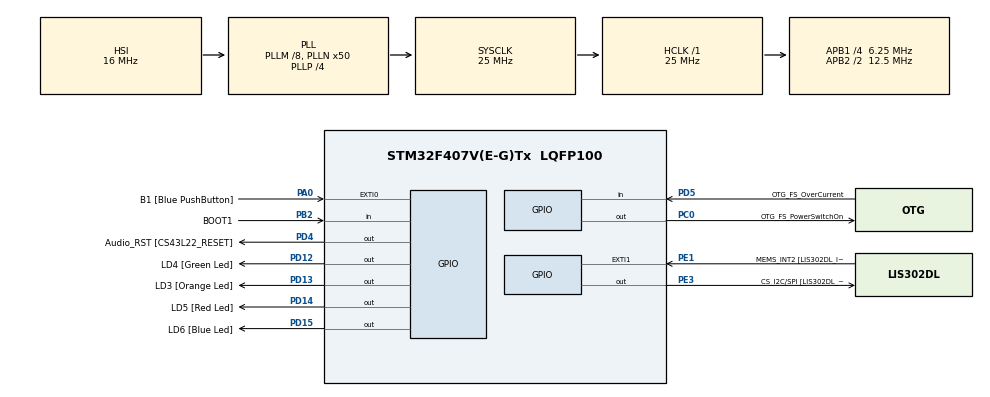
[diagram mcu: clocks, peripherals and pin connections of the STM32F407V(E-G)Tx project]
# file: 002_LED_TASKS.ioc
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Mcu.Family=STM32F4
Mcu.Name=STM32F407V(E-G)Tx
Mcu.Package=LQFP100
NVIC.PriorityGroup=NVIC_PRIORITYGROUP_4
NVIC.TIM6_DAC_IRQn=true\:0\:0\:false\:false\:true\:false\:true\:true
NVIC.TimeBase=TIM6_DAC_IRQn
NVIC.TimeBaseIP=TIM6
PA0-WKUP.GPIO_Label=B1 [Blue PushButton]
PA0-WKUP.Signal=GPXTI0
PA10.GPIO_Label=OTG_FS_ID
PA10.GPIO_Mode=GPIO_MODE_AF_PP
PA10.GPIO_PuPd=GPIO_NOPULL
PA10.GPIO_Speed=GPIO_SPEED_FREQ_LOW
PA10.Signal=USB_OTG_FS_ID
PA11.GPIO_Label=OTG_FS_DM
PA11.GPIO_Mode=GPIO_MODE_AF_PP
PA11.GPIO_PuPd=GPIO_NOPULL
PA11.GPIO_Speed=GPIO_SPEED_FREQ_LOW
PA11.Signal=USB_OTG_FS_DM
PA12.GPIO_Label=OTG_FS_DP
PA12.GPIO_Mode=GPIO_MODE_AF_PP
PA12.GPIO_PuPd=GPIO_NOPULL
PA12.GPIO_Speed=GPIO_SPEED_FREQ_LOW
PA12.Signal=USB_OTG_FS_DP
PA13.GPIO_Label=SWDIO
PA13.Signal=SYS_JTMS-SWDIO
PA14.GPIO_Label=SWCLK
PA14.Signal=SYS_JTCK-SWCLK
PA4.GPIO_Label=I2S3_WS [CS43L22_LRCK]
PA4.GPIO_Mode=GPIO_MODE_AF_PP
PA4.GPIO_PuPd=GPIO_NOPULL
PA4.GPIO_Speed=GPIO_SPEED_FREQ_LOW
PA4.Signal=I2S3_WS
PA5.GPIO_Label=SPI1_SCK [LIS302DL_SCL/SPC]
PA5.GPIO_Mode=GPIO_MODE_AF_PP
PA5.GPIO_PuPd=GPIO_NOPULL
PA5.GPIO_Speed=GPIO_SPEED_FREQ_LOW
PA5.Signal=SPI1_SCK
PA6.GPIO_Label=SPI1_MISO [LIS302DL_SDO]
PA6.GPIO_Mode=GPIO_MODE_AF_PP
PA6.GPIO_PuPd=GPIO_NOPULL
PA6.GPIO_Speed=GPIO_SPEED_FREQ_LOW
PA6.Signal=SPI1_MISO
PA7.GPIO_Label=SPI1_MOSI [LIS302DL_SDA/SDI/SDO]
PA7.GPIO_Mode=GPIO_MODE_AF_PP
PA7.GPIO_PuPd=GPIO_NOPULL
PA7.GPIO_Speed=GPIO_SPEED_FREQ_LOW
PA7.Signal=SPI1_MOSI
PA9.GPIO_Label=VBUS_FS
PA9.GPIO_Mode=GPIO_MODE_INPUT
PA9.GPIO_PuPd=GPIO_NOPULL
PA9.Signal=USB_OTG_FS_VBUS
PB10.GPIO_Label=CLK_IN [MP45DT02_CLK]
PB10.GPIO_Mode=GPIO_MODE_AF_PP
PB10.GPIO_PuPd=GPIO_NOPULL
PB10.GPIO_Speed=GPIO_SPEED_FREQ_LOW
PB10.Signal=I2S2_CK
PB2.GPIO_Label=BOOT1
PB2.GPIO_Mode=GPIO_MODE_INPUT
PB2.GPIO_PuPd=GPIO_NOPULL
PB2.Signal=GPIO_Input
PB3.GPIO_Label=SWO
PB3.Signal=SYS_JTDO-SWO
PB6.GPIO_Label=Audio_SCL [CS43L22_SCL]
PB6.GPIO_Mode=GPIO_MODE_AF_OD
PB6.GPIO_PuPd=GPIO_NOPULL
PB6.GPIO_Speed=GPIO_SPEED_FREQ_LOW
PB6.Signal=I2C1_SCL
PB9.GPIO_Label=Audio_SDA [CS43L22_SDA]
PB9.GPIO_Mode=GPIO_MODE_AF_OD
PB9.GPIO_PuPd=GPIO_NOPULL
PB9.GPIO_Speed=GPIO_SPEED_FREQ_LOW
PB9.Signal=I2C1_SDA
PC0.GPIO_Label=OTG_FS_PowerSwitchOn
PC0.GPIO_PuPd=GPIO_NOPULL
PC0.GPIO_Speed=GPIO_SPEED_FREQ_LOW
PC0.PinState=GPIO_PIN_SET
PC0.Signal=GPIO_Output
PC10.GPIO_Label=I2S3_SCK [CS43L22_SCLK]
PC10.GPIO_Mode=GPIO_MODE_AF_PP
PC10.GPIO_PuPd=GPIO_NOPULL
PC10.GPIO_Speed=GPIO_SPEED_FREQ_LOW
PC10.Signal=I2S3_CK
PC12.GPIO_Label=I2S3_SD [CS43L22_SDIN]
PC12.GPIO_Mode=GPIO_MODE_AF_PP
PC12.GPIO_PuPd=GPIO_NOPULL
PC12.GPIO_Speed=GPIO_SPEED_FREQ_LOW
PC12.Signal=I2S3_SD
PC14-OSC32_IN.GPIO_Label=PC14-OSC32_IN
PC14-OSC32_IN.Signal=RCC_OSC32_IN
PC15-OSC32_OUT.GPIO_Label=PC15-OSC32_OUT
PC15-OSC32_OUT.Signal=RCC_OSC32_OUT
PC3.GPIO_Label=PDM_OUT [MP45DT02_DOUT]
PC3.GPIO_Mode=GPIO_MODE_AF_PP
PC3.GPIO_PuPd=GPIO_NOPULL
PC3.GPIO_Speed=GPIO_SPEED_FREQ_LOW
PC3.Signal=I2S2_SD
PC7.GPIO_Label=I2S3_MCK [CS43L22_MCLK]
PC7.GPIO_Mode=GPIO_MODE_AF_PP
PC7.GPIO_PuPd=GPIO_NOPULL
PC7.GPIO_Speed=GPIO_SPEED_FREQ_LOW
PC7.Signal=I2S3_MCK
PD12.GPIO_Label=LD4 [Green Led]
PD12.GPIO_PuPd=GPIO_NOPULL
PD12.GPIO_Speed=GPIO_SPEED_FREQ_LOW
PD12.Signal=GPIO_Output
PD13.GPIO_Label=LD3 [Orange Led]
PD13.GPIO_PuPd=GPIO_NOPULL
PD13.GPIO_Speed=GPIO_SPEED_FREQ_LOW
PD13.Signal=GPIO_Output
PD14.GPIO_Label=LD5 [Red Led]
PD14.GPIO_PuPd=GPIO_NOPULL
PD14.GPIO_Speed=GPIO_SPEED_FREQ_LOW
PD14.Signal=GPIO_Output
PD15.GPIO_Label=LD6 [Blue Led]
PD15.GPIO_PuPd=GPIO_NOPULL
PD15.GPIO_Speed=GPIO_SPEED_FREQ_LOW
PD15.Signal=GPIO_Output
PD4.GPIO_Label=Audio_RST [CS43L22_RESET]
PD4.GPIO_PuPd=GPIO_NOPULL
PD4.GPIO_Speed=GPIO_SPEED_FREQ_LOW
PD4.Signal=GPIO_Output
PD5.GPIO_Label=OTG_FS_OverCurrent
PD5.GPIO_Mode=GPIO_MODE_INPUT
PD5.GPIO_PuPd=GPIO_NOPULL
PD5.Signal=GPIO_Input
PE1.GPIO_Label=MEMS_INT2 [LIS302DL_INT2]
PE1.GPIO_ModeDefaultEXTI=GPIO_MODE_EVT_RISING
PE1.GPIO_PuPd=GPIO_NOPULL
PE1.Signal=GPXTI1
PE3.GPIO_Label=CS_I2C/SPI [LIS302DL_CS_I2C/SPI]
PE3.GPIO_PuPd=GPIO_NOPULL
PE3.GPIO_Speed=GPIO_SPEED_FREQ_LOW
PE3.Signal=GPIO_Output
PH0-OSC_IN.GPIO_Label=PH0-OSC_IN
PH0-OSC_IN.Signal=RCC_OSC_IN
PH1-OSC_OUT.GPIO_Label=PH1-OSC_OUT
PH1-OSC_OUT.Signal=RCC_OSC_OUT
ProjectManager.HeapSize=0x200
ProjectManager.StackSize=0x400
ProjectManager.TargetToolchain=STM32CubeIDE
RCC.48MHZClocksFreq_Value=14285714.285714285
RCC.AHBFreq_Value=25000000
RCC.APB1CLKDivider=RCC_HCLK_DIV4
RCC.APB1Freq_Value=6250000
RCC.APB1TimFreq_Value=12500000
RCC.APB2CLKDivider=RCC_HCLK_DIV2
RCC.APB2Freq_Value=12500000
RCC.APB2TimFreq_Value=25000000
RCC.CortexFreq_Value=25000000
RCC.HCLKFreq_Value=25000000
RCC.HSE_VALUE=8000000
RCC.HSI_VALUE=16000000
RCC.LSE_VALUE=32768
RCC.PLLM=8
RCC.PLLN=50
RCC.PLLP=RCC_PLLP_DIV4
RCC.PLLQ=7
RCC.SYSCLKFreq_VALUE=25000000
RCC.SYSCLKSource=RCC_SYSCLKSOURCE_PLLCLK
RCC.VCOOutputFreq_Value=100000000
VP_SYS_VS_tim6.Mode=TIM6
board=STM32F407G-DISC1

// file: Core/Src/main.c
/* USER CODE BEGIN Header */
/**
  ******************************************************************************
  * @file           : main.c
  * @brief          : Main program body
  ******************************************************************************
  * @attention
  *
  * Copyright (c) 2026 STMicroelectronics.
  * All rights reserved.
  *
  * This software is licensed under terms that can be found in the LICENSE file
  * in the root directory of this software component.
  * If no LICENSE file comes with this software, it is provided AS-IS.
  *
  ******************************************************************************
  */
/* USER CODE END Header */
#include "main.h"

/* USER CODE BEGIN Includes */
#include "FreeRTOS.h"
#include "task.h"
#include <stdio.h>

/* USER CODE END Includes */

/* USER CODE BEGIN PV */
#define DWT_CTRL   (*(volatile uint32_t*)0xE0001000)
/* USER CODE END PV */

void SystemClock_Config(void);
static void MX_GPIO_Init(void);
/* USER CODE BEGIN PFP */
static void led_green_handler(void* parameters);
static void led_red_handler(void* parameters);
static void led_orange_handler(void* parameters);

/* USER CODE END PFP */

int main(void)
{

  /* USER CODE BEGIN 1 */
  TaskHandle_t task1_handle,task2_handle,task3_handle;

  BaseType_t status;

  /* USER CODE END 1 */

  /* MCU Configuration--------------------------------------------------------*/

  /* Reset of all peripherals, Initializes the Flash interface and the Systick. */
  HAL_Init();

  /* Configure the system clock */
  SystemClock_Config();

  /* Initialize all configured peripherals */
  MX_GPIO_Init();
  /* USER CODE BEGIN 2 */
  DWT_CTRL |=(1<<0);

  status = xTaskCreate(led_green_handler,"LED_GREEN_TASK", 200, NULL, 2, &task1_handle);
  configASSERT(status == pdPASS);
  status = xTaskCreate(led_red_handler,"LED_RED_TASK", 200, NULL, 2, &task2_handle);
  configASSERT(status == pdPASS);
  status = xTaskCreate(led_orange_handler,"LED_ORANGE_TASK", 200, NULL, 2, &task3_handle);
  configASSERT(status == pdPASS);

  //start the scheduler
  vTaskStartScheduler();
  /* USER CODE END 2 */

  /* Infinite loop */
  while (1)
  {

  }
}

void SystemClock_Config(void)
{
  RCC_OscInitTypeDef RCC_OscInitStruct = {0};
  RCC_ClkInitTypeDef RCC_ClkInitStruct = {0};

  /** Configure the main internal regulator output voltage
  */
  __HAL_RCC_PWR_CLK_ENABLE();
  __HAL_PWR_VOLTAGESCALING_CONFIG(PWR_REGULATOR_VOLTAGE_SCALE1);

  /** Initializes the RCC Oscillators according to the specified parameters
  * in the RCC_OscInitTypeDef structure.
  */
  RCC_OscInitStruct.OscillatorType = RCC_OSCILLATORTYPE_HSI;
  RCC_OscInitStruct.HSIState = RCC_HSI_ON;
  RCC_OscInitStruct.HSICalibrationValue = RCC_HSICALIBRATION_DEFAULT;
  RCC_OscInitStruct.PLL.PLLState = RCC_PLL_ON;
  RCC_OscInitStruct.PLL.PLLSource = RCC_PLLSOURCE_HSI;
  RCC_OscInitStruct.PLL.PLLM = 8;
  RCC_OscInitStruct.PLL.PLLN = 50;
  RCC_OscInitStruct.PLL.PLLP = RCC_PLLP_DIV4;
  RCC_OscInitStruct.PLL.PLLQ = 7;
  if (HAL_RCC_OscConfig(&RCC_OscInitStruct) != HAL_OK)
  {
    Error_Handler();
  }

  /** Initializes the CPU, AHB and APB buses clocks
  */
  RCC_ClkInitStruct.ClockType = RCC_CLOCKTYPE_HCLK|RCC_CLOCKTYPE_SYSCLK
                              |RCC_CLOCKTYPE_PCLK1|RCC_CLOCKTYPE_PCLK2;
  RCC_ClkInitStruct.SYSCLKSource = RCC_SYSCLKSOURCE_PLLCLK;
  RCC_ClkInitStruct.AHBCLKDivider = RCC_SYSCLK_DIV1;
  RCC_ClkInitStruct.APB1CLKDivider = RCC_HCLK_DIV4;
  RCC_ClkInitStruct.APB2CLKDivider = RCC_HCLK_DIV2;

  if (HAL_RCC_ClockConfig(&RCC_ClkInitStruct, FLASH_LATENCY_0) != HAL_OK)
  {
    Error_Handler();
  }
}

static void MX_GPIO_Init(void)
{
  GPIO_InitTypeDef GPIO_InitStruct = {0};

  /* GPIO Ports Clock Enable */
  __HAL_RCC_GPIOE_CLK_ENABLE();
  __HAL_RCC_GPIOC_CLK_ENABLE();
  __HAL_RCC_GPIOH_CLK_ENABLE();
  __HAL_RCC_GPIOA_CLK_ENABLE();
  __HAL_RCC_GPIOB_CLK_ENABLE();
  __HAL_RCC_GPIOD_CLK_ENABLE();

  /*Configure GPIO pin Output Level */
  HAL_GPIO_WritePin(CS_I2C_SPI_GPIO_Port, CS_I2C_SPI_Pin, GPIO_PIN_RESET);

  /*Configure GPIO pin Output Level */
  HAL_GPIO_WritePin(OTG_FS_PowerSwitchOn_GPIO_Port, OTG_FS_PowerSwitchOn_Pin, GPIO_PIN_SET);

  /*Configure GPIO pin Output Level */
  HAL_GPIO_WritePin(GPIOD, LD4_Pin|LD3_Pin|LD5_Pin|LD6_Pin
                          |Audio_RST_Pin, GPIO_PIN_RESET);

  /*Configure GPIO pin : CS_I2C_SPI_Pin */
  GPIO_InitStruct.Pin = CS_I2C_SPI_Pin;
  GPIO_InitStruct.Mode = GPIO_MODE_OUTPUT_PP;
  GPIO_InitStruct.Pull = GPIO_NOPULL;
  GPIO_InitStruct.Speed = GPIO_SPEED_FREQ_LOW;
  HAL_GPIO_Init(CS_I2C_SPI_GPIO_Port, &GPIO_InitStruct);

  /*Configure GPIO pin : OTG_FS_PowerSwitchOn_Pin */
  GPIO_InitStruct.Pin = OTG_FS_PowerSwitchOn_Pin;
  GPIO_InitStruct.Mode = GPIO_MODE_OUTPUT_PP;
  GPIO_InitStruct.Pull = GPIO_NOPULL;
  GPIO_InitStruct.Speed = GPIO_SPEED_FREQ_LOW;
  HAL_GPIO_Init(OTG_FS_PowerSwitchOn_GPIO_Port, &GPIO_InitStruct);

  /*Configure GPIO pin : PDM_OUT_Pin */
  GPIO_InitStruct.Pin = PDM_OUT_Pin;
  GPIO_InitStruct.Mode = GPIO_MODE_AF_PP;
  GPIO_InitStruct.Pull = GPIO_NOPULL;
  GPIO_InitStruct.Speed = GPIO_SPEED_FREQ_LOW;
  GPIO_InitStruct.Alternate = GPIO_AF5_SPI2;
  HAL_GPIO_Init(PDM_OUT_GPIO_Port, &GPIO_InitStruct);

  /*Configure GPIO pin : B1_Pin */
  GPIO_InitStruct.Pin = B1_Pin;
  GPIO_InitStruct.Mode = GPIO_MODE_IT_RISING;
  GPIO_InitStruct.Pull = GPIO_NOPULL;
  HAL_GPIO_Init(B1_GPIO_Port, &GPIO_InitStruct);

  /*Configure GPIO pin : I2S3_WS_Pin */
  GPIO_InitStruct.Pin = I2S3_WS_Pin;
  GPIO_InitStruct.Mode = GPIO_MODE_AF_PP;
  GPIO_InitStruct.Pull = GPIO_NOPULL;
  GPIO_InitStruct.Speed = GPIO_SPEED_FREQ_LOW;
  GPIO_InitStruct.Alternate = GPIO_AF6_SPI3;
  HAL_GPIO_Init(I2S3_WS_GPIO_Port, &GPIO_InitStruct);

  /*Configure GPIO pins : SPI1_SCK_Pin SPI1_MISO_Pin SPI1_MOSI_Pin */
  GPIO_InitStruct.Pin = SPI1_SCK_Pin|SPI1_MISO_Pin|SPI1_MOSI_Pin;
  GPIO_InitStruct.Mode = GPIO_MODE_AF_PP;
  GPIO_InitStruct.Pull = GPIO_NOPULL;
  GPIO_InitStruct.Speed = GPIO_SPEED_FREQ_LOW;
  GPIO_InitStruct.Alternate = GPIO_AF5_SPI1;
  HAL_GPIO_Init(GPIOA, &GPIO_InitStruct);

  /*Configure GPIO pin : BOOT1_Pin */
  GPIO_InitStruct.Pin = BOOT1_Pin;
  GPIO_InitStruct.Mode = GPIO_MODE_INPUT;
  GPIO_InitStruct.Pull = GPIO_NOPULL;
  HAL_GPIO_Init(BOOT1_GPIO_Port, &GPIO_InitStruct);

  /*Configure GPIO pin : CLK_IN_Pin */
  GPIO_InitStruct.Pin = CLK_IN_Pin;
  GPIO_InitStruct.Mode = GPIO_MODE_AF_PP;
  GPIO_InitStruct.Pull = GPIO_NOPULL;
  GPIO_InitStruct.Speed = GPIO_SPEED_FREQ_LOW;
  GPIO_InitStruct.Alternate = GPIO_AF5_SPI2;
  HAL_GPIO_Init(CLK_IN_GPIO_Port, &GPIO_InitStruct);

  /*Configure GPIO pins : LD4_Pin LD3_Pin LD5_Pin LD6_Pin
                           Audio_RST_Pin */
  GPIO_InitStruct.Pin = LD4_Pin|LD3_Pin|LD5_Pin|LD6_Pin
                          |Audio_RST_Pin;
  GPIO_InitStruct.Mode = GPIO_MODE_OUTPUT_PP;
  GPIO_InitStruct.Pull = GPIO_NOPULL;
  GPIO_InitStruct.Speed = GPIO_SPEED_FREQ_LOW;
  HAL_GPIO_Init(GPIOD, &GPIO_InitStruct);

  /*Configure GPIO pins : I2S3_MCK_Pin I2S3_SCK_Pin I2S3_SD_Pin */
  GPIO_InitStruct.Pin = I2S3_MCK_Pin|I2S3_SCK_Pin|I2S3_SD_Pin;
  GPIO_InitStruct.Mode = GPIO_MODE_AF_PP;
  GPIO_InitStruct.Pull = GPIO_NOPULL;
  GPIO_InitStruct.Speed = GPIO_SPEED_FREQ_LOW;
  GPIO_InitStruct.Alternate = GPIO_AF6_SPI3;
  HAL_GPIO_Init(GPIOC, &GPIO_InitStruct);

  /*Configure GPIO pin : VBUS_FS_Pin */
  GPIO_InitStruct.Pin = VBUS_FS_Pin;
  GPIO_InitStruct.Mode = GPIO_MODE_INPUT;
  GPIO_InitStruct.Pull = GPIO_NOPULL;
  HAL_GPIO_Init(VBUS_FS_GPIO_Port, &GPIO_InitStruct);

  /*Configure GPIO pins : OTG_FS_ID_Pin OTG_FS_DM_Pin OTG_FS_DP_Pin */
  GPIO_InitStruct.Pin = OTG_FS_ID_Pin|OTG_FS_DM_Pin|OTG_FS_DP_Pin;
  GPIO_InitStruct.Mode = GPIO_MODE_AF_PP;
  GPIO_InitStruct.Pull = GPIO_NOPULL;
  GPIO_InitStruct.Speed = GPIO_SPEED_FREQ_LOW;
  GPIO_InitStruct.Alternate = GPIO_AF10_OTG_FS;
  HAL_GPIO_Init(GPIOA, &GPIO_InitStruct);

  /*Configure GPIO pin : OTG_FS_OverCurrent_Pin */
  GPIO_InitStruct.Pin = OTG_FS_OverCurrent_Pin;
  GPIO_InitStruct.Mode = GPIO_MODE_INPUT;
  GPIO_InitStruct.Pull = GPIO_NOPULL;
  HAL_GPIO_Init(OTG_FS_OverCurrent_GPIO_Port, &GPIO_InitStruct);

  /*Configure GPIO pins : Audio_SCL_Pin Audio_SDA_Pin */
  GPIO_InitStruct.Pin = Audio_SCL_Pin|Audio_SDA_Pin;
  GPIO_InitStruct.Mode = GPIO_MODE_AF_OD;
  GPIO_InitStruct.Pull = GPIO_NOPULL;
  GPIO_InitStruct.Speed = GPIO_SPEED_FREQ_LOW;
  GPIO_InitStruct.Alternate = GPIO_AF4_I2C1;
  HAL_GPIO_Init(GPIOB, &GPIO_InitStruct);

  /*Configure GPIO pin : MEMS_INT2_Pin */
  GPIO_InitStruct.Pin = MEMS_INT2_Pin;
  GPIO_InitStruct.Mode = GPIO_MODE_EVT_RISING;
  GPIO_InitStruct.Pull = GPIO_NOPULL;
  HAL_GPIO_Init(MEMS_INT2_GPIO_Port, &GPIO_InitStruct);

}

/* USER CODE BEGIN 4 */
static void led_green_handler(void* parameters)
{
	while(1)
	{
		HAL_GPIO_TogglePin(GPIOD,LED_GREEN_PIN);
		//after this we have to wait for 1000ms
		HAL_Delay(1000);
	}
}
static void led_red_handler(void* parameters)
{
	while(1)
	{

		HAL_GPIO_TogglePin(GPIOD, LED_RED_PIN);
		//after this we have to wait for 800ms
		HAL_Delay(800);
	}
}
static void led_orange_handler(void* parameters)
{
	while(1)
	{

		HAL_GPIO_TogglePin(GPIOD, LED_ORANGE_PIN);
		//after this we have to wait for 400ms
		HAL_Delay(400);
	}
}
/* USER CODE END 4 */

void HAL_TIM_PeriodElapsedCallback(TIM_HandleTypeDef *htim)
{
  if (htim->Instance == TIM6)
  {
    HAL_IncTick();
  }
}

void Error_Handler(void)
{
  __disable_irq();
  while (1)
  {
  }
}
